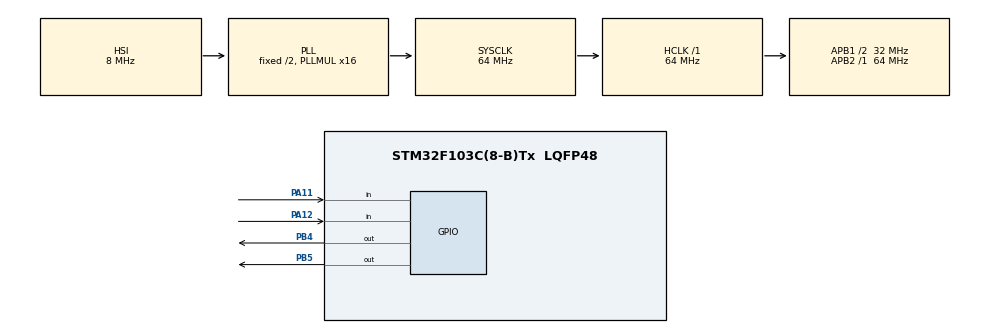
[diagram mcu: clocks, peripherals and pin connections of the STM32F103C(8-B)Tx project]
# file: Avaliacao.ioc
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FREERTOS.Tasks01=defaultTask,8,128,StartDefaultTask,Default,NULL,Dynamic,NULL,NULL;myTask02,40,128,StartTask02,Default,NULL,Dynamic,NULL,NULL;myTask03,24,128,StartTask03,Default,NULL,Dynamic,NULL,NULL;myTask04,40,128,StartTask04,Default,NULL,Dynamic,NULL,NULL
Mcu.Family=STM32F1
Mcu.Name=STM32F103C(8-B)Tx
Mcu.Package=LQFP48
NVIC.PriorityGroup=NVIC_PRIORITYGROUP_4
PA11.GPIO_PuPd=GPIO_PULLUP
PA11.Signal=GPIO_Input
PA12.GPIO_PuPd=GPIO_PULLUP
PA12.Signal=GPIO_Input
PA13.Mode=Serial_Wire
PA13.Signal=SYS_JTMS-SWDIO
PA14.Mode=Serial_Wire
PA14.Signal=SYS_JTCK-SWCLK
PB4.Signal=GPIO_Output
PB5.Signal=GPIO_Output
ProjectManager.HeapSize=0x200
ProjectManager.StackSize=0x400
ProjectManager.TargetToolchain=STM32CubeIDE
RCC.AHBFreq_Value=64000000
RCC.APB1CLKDivider=RCC_HCLK_DIV2
RCC.APB1Freq_Value=32000000
RCC.APB1TimFreq_Value=64000000
RCC.APB2Freq_Value=64000000
RCC.APB2TimFreq_Value=64000000
RCC.HCLKFreq_Value=64000000
RCC.PLLMUL=RCC_PLL_MUL16
RCC.SYSCLKFreq_VALUE=64000000
RCC.SYSCLKSource=RCC_SYSCLKSOURCE_PLLCLK
RCC.USBFreq_Value=64000000
VP_FREERTOS_VS_CMSIS_V2.Mode=CMSIS_V2
board=custom

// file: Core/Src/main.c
/* USER CODE BEGIN Header */
/**
  ******************************************************************************
  * @file           : main.c
  * @brief          : Main program body
  ******************************************************************************
  * @attention
  *
  * <h2><center>&copy; Copyright (c) 2025 STMicroelectronics.
  * All rights reserved.</center></h2>
  *
  * This software component is licensed by ST under BSD 3-Clause license,
  * the "License"; You may not use this file except in compliance with the
  * License. You may obtain a copy of the License at:
  *                        opensource.org/licenses/BSD-3-Clause
  *
  ******************************************************************************
  */
/* USER CODE END Header */
#include "main.h"
#include "cmsis_os.h"

/* USER CODE BEGIN PD */
#define ON_FIVE HAL_GPIO_WritePin(GPIOB, GPIO_PIN_5, 1)
#define OFF_FIVE HAL_GPIO_WritePin(GPIOB, GPIO_PIN_5, 0)
#define ON_FOUR HAL_GPIO_WritePin(GPIOB, GPIO_PIN_4, 1)
#define OFF_FOUR HAL_GPIO_WritePin(GPIOB, GPIO_PIN_4, 0)
#define BUTTON_MODE HAL_GPIO_ReadPin(GPIOA, GPIO_PIN_11) == 0
/* USER CODE END PD */

/* Definitions for defaultTask */
osThreadId_t defaultTaskHandle;
const osThreadAttr_t defaultTask_attributes = {
  .name = "defaultTask",
  .priority = (osPriority_t) osPriorityLow,
  .stack_size = 128 * 4
};
/* Definitions for myTask02 */
osThreadId_t myTask02Handle;
const osThreadAttr_t myTask02_attributes = {
  .name = "myTask02",
  .priority = (osPriority_t) osPriorityHigh,
  .stack_size = 128 * 4
};
/* Definitions for myTask03 */
osThreadId_t myTask03Handle;
const osThreadAttr_t myTask03_attributes = {
  .name = "myTask03",
  .priority = (osPriority_t) osPriorityNormal,
  .stack_size = 128 * 4
};
/* Definitions for myTask04 */
osThreadId_t myTask04Handle;
const osThreadAttr_t myTask04_attributes = {
  .name = "myTask04",
  .priority = (osPriority_t) osPriorityHigh,
  .stack_size = 128 * 4
};
/* USER CODE BEGIN PV */
uint8_t volatile cont = 0;
/* USER CODE END PV */

void SystemClock_Config(void);
static void MX_GPIO_Init(void);
void StartDefaultTask(void *argument);
void StartTask02(void *argument);
void StartTask03(void *argument);
void StartTask04(void *argument);

int main(void)
{

  /* MCU Configuration--------------------------------------------------------*/

  /* Reset of all peripherals, Initializes the Flash interface and the Systick. */
  HAL_Init();

  /* Configure the system clock */
  SystemClock_Config();

  /* Initialize all configured peripherals */
  MX_GPIO_Init();

  /* Init scheduler */
  osKernelInitialize();

  /* Create the thread(s) */
  /* creation of defaultTask */
  defaultTaskHandle = osThreadNew(StartDefaultTask, NULL, &defaultTask_attributes);

  /* creation of myTask02 */
  myTask02Handle = osThreadNew(StartTask02, NULL, &myTask02_attributes);

  /* creation of myTask03 */
  myTask03Handle = osThreadNew(StartTask03, NULL, &myTask03_attributes);

  /* creation of myTask04 */
  myTask04Handle = osThreadNew(StartTask04, NULL, &myTask04_attributes);

  /* Start scheduler */
  osKernelStart();

  /* We should never get here as control is now taken by the scheduler */
  /* Infinite loop */
  while (1)
  {

  }
}

void SystemClock_Config(void)
{
  RCC_OscInitTypeDef RCC_OscInitStruct = {0};
  RCC_ClkInitTypeDef RCC_ClkInitStruct = {0};

  /** Initializes the RCC Oscillators according to the specified parameters
  * in the RCC_OscInitTypeDef structure.
  */
  RCC_OscInitStruct.OscillatorType = RCC_OSCILLATORTYPE_HSI;
  RCC_OscInitStruct.HSIState = RCC_HSI_ON;
  RCC_OscInitStruct.HSICalibrationValue = RCC_HSICALIBRATION_DEFAULT;
  RCC_OscInitStruct.PLL.PLLState = RCC_PLL_ON;
  RCC_OscInitStruct.PLL.PLLSource = RCC_PLLSOURCE_HSI_DIV2;
  RCC_OscInitStruct.PLL.PLLMUL = RCC_PLL_MUL16;
  if (HAL_RCC_OscConfig(&RCC_OscInitStruct) != HAL_OK)
  {
    Error_Handler();
  }
  /** Initializes the CPU, AHB and APB buses clocks
  */
  RCC_ClkInitStruct.ClockType = RCC_CLOCKTYPE_HCLK|RCC_CLOCKTYPE_SYSCLK
                              |RCC_CLOCKTYPE_PCLK1|RCC_CLOCKTYPE_PCLK2;
  RCC_ClkInitStruct.SYSCLKSource = RCC_SYSCLKSOURCE_PLLCLK;
  RCC_ClkInitStruct.AHBCLKDivider = RCC_SYSCLK_DIV1;
  RCC_ClkInitStruct.APB1CLKDivider = RCC_HCLK_DIV2;
  RCC_ClkInitStruct.APB2CLKDivider = RCC_HCLK_DIV1;

  if (HAL_RCC_ClockConfig(&RCC_ClkInitStruct, FLASH_LATENCY_2) != HAL_OK)
  {
    Error_Handler();
  }
}

static void MX_GPIO_Init(void)
{
  GPIO_InitTypeDef GPIO_InitStruct = {0};

  /* GPIO Ports Clock Enable */
  __HAL_RCC_GPIOA_CLK_ENABLE();
  __HAL_RCC_GPIOB_CLK_ENABLE();

  /*Configure GPIO pin Output Level */
  HAL_GPIO_WritePin(GPIOB, GPIO_PIN_4|GPIO_PIN_5, GPIO_PIN_RESET);

  /*Configure GPIO pins : PA11 PA12 */
  GPIO_InitStruct.Pin = GPIO_PIN_11|GPIO_PIN_12;
  GPIO_InitStruct.Mode = GPIO_MODE_INPUT;
  GPIO_InitStruct.Pull = GPIO_PULLUP;
  HAL_GPIO_Init(GPIOA, &GPIO_InitStruct);

  /*Configure GPIO pins : PB4 PB5 */
  GPIO_InitStruct.Pin = GPIO_PIN_4|GPIO_PIN_5;
  GPIO_InitStruct.Mode = GPIO_MODE_OUTPUT_PP;
  GPIO_InitStruct.Pull = GPIO_NOPULL;
  GPIO_InitStruct.Speed = GPIO_SPEED_FREQ_LOW;
  HAL_GPIO_Init(GPIOB, &GPIO_InitStruct);

}

void StartDefaultTask(void *argument)
{
  /* USER CODE BEGIN 5 */
  /* Infinite loop */
  for(;;)
  {
	 ON_FIVE;
	 osDelay(100);
	 OFF_FIVE;
	 osDelay(100);
  }
  /* USER CODE END 5 */
}

void StartTask02(void *argument)
{
  /* USER CODE BEGIN StartTask02 */
	uint8_t botao_anterior = 1;
	uint8_t botao_cont = 0;
	uint8_t botao;
  /* Infinite loop */
  for(;;)
  {
	  {
	  	  botao = HAL_GPIO_ReadPin(GPIOA, GPIO_PIN_12);
	  	  if (botao == botao_anterior)
	  	  {
	  		  if (botao_cont < 10) botao_cont++;
	  	  }
	  	  else
	  	  {
	  		  botao_cont = 0;
	  		  botao_anterior = botao;
	  	  }
	  	  if (botao_cont == 5 && botao == 0)
	  	  {
	  	    cont++;
	  	    botao_cont = 0;
	  	  }
	      osDelay(20);
	    }
  }
  /* USER CODE END StartTask02 */
}

void StartTask03(void *argument)
{
  /* USER CODE BEGIN StartTask03 */
  /* Infinite loop */
  for(;;)
  {
	  if(cont < 11){
	  		ON_FOUR;
	  		osDelay(250);
	  		OFF_FOUR;
	  		osDelay(250);
	  	}
	  	else if (cont < 21){
	  		ON_FOUR;
	  		osDelay(50);
	  		OFF_FOUR;
	  		osDelay(50);
	  	}
	  	else{
	  		cont = 20;
	  	}
	      osDelay(1);
  }
  /* USER CODE END StartTask03 */
}

void StartTask04(void *argument)
{
  /* USER CODE BEGIN StartTask04 */
  /* Infinite loop */
  for(;;)
  {
	  if (BUTTON_MODE){
		  cont = 0;
	  }
    osDelay(1);
  }
  /* USER CODE END StartTask04 */
}

void Error_Handler(void)
{
  __disable_irq();
  while (1)
  {
  }
}

/************************ (C) COPYRIGHT STMicroelectronics *****END OF FILE****/
